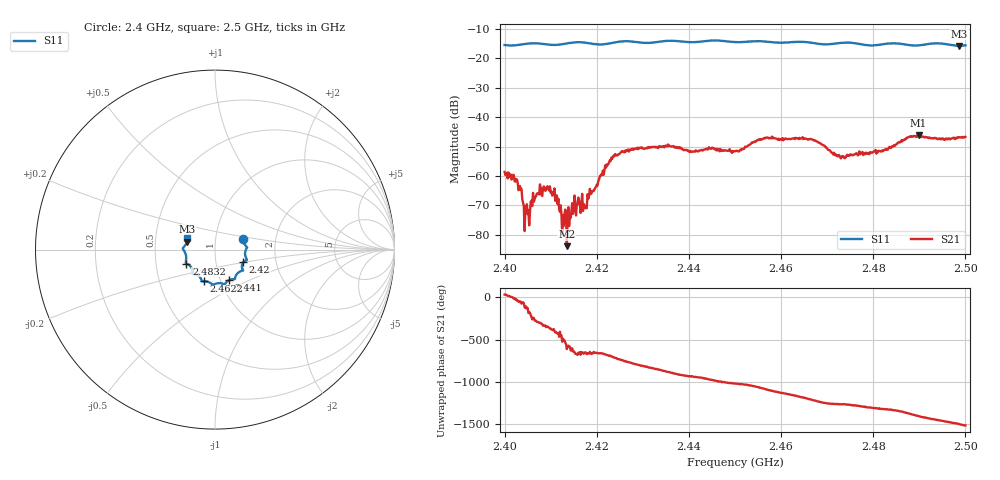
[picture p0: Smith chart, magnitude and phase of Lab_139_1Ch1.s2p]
# Hz S RI R 50
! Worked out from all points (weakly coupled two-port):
!   601 points, 2.4 GHz to 2.5 GHz, reference 50 ohm
!   highest |S21| = -46.23 dB at 2.4898 GHz (marker M1); lowest = -83.8 dB at 2.4135 GHz (marker M2)
!   lowest |S11| = -15.8 dB at 2.4987 GHz (marker M3), VSWR 1.39, Z = 36.4 + j3.35 ohm
!   |S11| at or under -10 dB: start of sweep to end of sweep
!   S12 and S22 are empty: the file has one direction only
!   S11 on the Smith chart (normalised r, x): 2.4 GHz: 1.36, +0.17; 2.42 GHz: 1.36, -0.20; 2.441 GHz: 1.09, -0.39; 2.4622 GHz: 0.83, -0.30; 2.4832 GHz: 0.72, -0.12; 2.5 GHz: 0.73, +0.09
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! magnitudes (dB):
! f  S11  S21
! 2.4 GHz  -15.5  -58.6
! 2.4023 GHz  -15.6  -61.9
! 2.4048 GHz  -15.1  -69.6
! 2.4088 GHz  -15.2  -65.1
! 2.4112 GHz  -15.5  -67.1
! 2.4123 GHz  -15.3  -73.2
! 2.4135 GHz  -15.0  -83.8
! 2.4167 GHz  -14.6  -69.7
! 2.42 GHz  -15.3  -63.0
! 2.4237 GHz  -14.7  -53.1
! 2.4333 GHz  -14.4  -50.5
! 2.441 GHz  -14.5  -51.7
! 2.45 GHz  -14.5  -51.5
! 2.4567 GHz  -14.3  -47.0
! 2.4622 GHz  -14.5  -47.4
! 2.4667 GHz  -14.7  -47.6
! 2.4733 GHz  -14.7  -53.2
! 2.4832 GHz  -15.0  -51.0
! 2.4833 GHz  -15.0  -50.5
! 2.4898 GHz  -15.6  -46.2
! 2.4987 GHz  -15.8  -46.8
! 2.5 GHz  -15.6  -46.7
